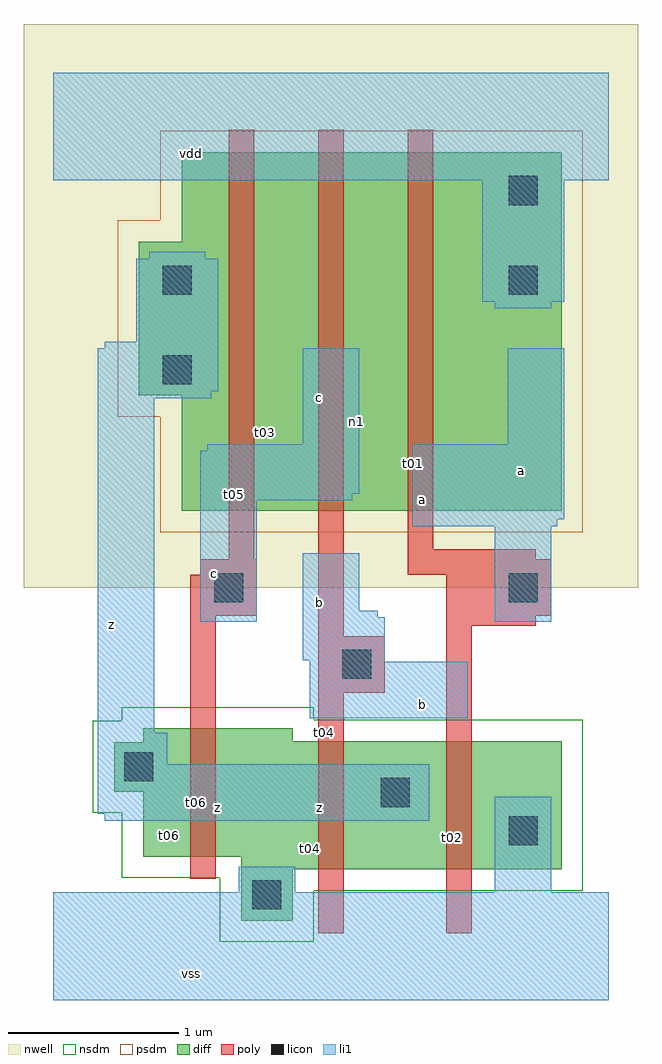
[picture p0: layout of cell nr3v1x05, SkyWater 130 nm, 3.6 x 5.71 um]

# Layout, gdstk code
import gdstk
lib = gdstk.Library(unit=1e-6, precision=5e-09)
def R(c, l, rs):  # rectangles x0, y0, x1, y1
    for r in rs: c.add(gdstk.rectangle(r[:2], r[2:], *l))
def A(c, l, x, y, w, h, nx, ny, dx, dy):  # array of equal rectangles
    R(c, l, [(x+i*dx, y+j*dy, x+i*dx+w, y+j*dy+h) for i in range(nx) for j in range(ny)])
nwell = (64, 20)
diff = (65, 20)
poly = (66, 20)
licon = (66, 44)
li1 = (67, 20)
nsdm = (93, 44)
psdm = (94, 20)

nr3v1x05 = lib.new_cell('nr3v1x05')
R(nr3v1x05, nwell, [(-0.3,2.4,3.3,5.7)])
R(nr3v1x05, diff, [(0.975,0.45,1.275,1.575), (0.975,0.75,2.85,1.5), (0.4,0.825,1.275,1.575), (0.4,0.825,2.85,1.5), (0.23,1.205,2.85,1.495), (0.625,2.85,2.85,4.95), (0.375,3.525,2.85,4.425)])
R(nr3v1x05, poly, [(1.425,0.375,1.575,5.08), (2.175,0.375,2.325,2.625), (0.675,0.695,0.825,2.475), (1.425,1.785,1.815,2.115), (2.175,2.175,2.7,2.625), (0.675,2.235,1.065,2.475), (0.735,2.235,1.065,2.565), (0.9,2.235,1.05,5.08), (2.175,2.235,2.7,2.625), (2.175,2.235,2.79,2.565), (1.95,2.475,2.1,5.08), (1.95,2.475,2.7,2.625)])
R(nr3v1x05, licon, [(1.04,0.515,1.21,0.685), (2.54,0.89,2.71,1.06), (1.79,1.115,1.96,1.285), (0.29,1.265,0.46,1.435), (1.565,1.865,1.735,2.035), (0.815,2.315,0.985,2.485), (2.54,2.315,2.71,2.485), (0.515,3.59,0.685,3.76), (0.515,4.115,0.685,4.285), (2.54,4.115,2.71,4.285), (2.54,4.64,2.71,4.81)])
A(nr3v1x05, li1, 1.375, 1.035, 0.25, 0.33, 1, 3, 0, 1.2)
R(nr3v1x05, li1, [(-0.125,-0.015,3.125,0.615), (-0.125,-0.015,3.125,0.615), (-0.125,-0.015,3.125,0.615), (0.96,-0.015,1.29,0.765), (2.46,-0.015,2.79,1.175), (0.175,1.035,0.54,1.55), (0.175,1.035,0.465,3.84), (0.175,1.035,2.075,1.365), (0.775,1.035,1.025,1.365), (0.135,1.075,0.54,1.55), (0.135,1.075,0.465,3.8), (0.135,1.075,2.075,1.365), (0.175,1.075,0.465,3.84), (0.175,1.075,0.465,3.84), (1.375,1.635,1.665,2.6), (1.375,1.635,2.3,1.965), (1.375,1.635,1.775,2.265), (1.375,1.635,1.815,2.225), (1.975,1.635,2.225,1.965), (0.135,1.675,0.465,3.725), (1.335,1.975,1.665,2.6), (1.335,1.975,1.815,2.225), (1.335,1.975,1.775,2.265), (0.735,2.2,1.065,3.2), (0.775,2.2,1.065,3.24), (0.775,2.2,1.065,3.24), (2.46,2.2,2.79,3.24), (2.535,2.2,2.79,3.8), (0.735,2.275,1.065,3.125), (1.975,2.76,2.825,3.24), (2.535,2.76,2.825,3.8), (1.975,2.8,2.865,3.24), (2.535,2.8,2.865,3.8), (1.975,2.835,2.225,3.165), (2.535,2.875,2.865,3.725), (0.735,2.91,1.625,3.2), (0.775,2.91,1.625,3.24), (1.335,2.91,1.625,3.8), (0.735,2.95,1.665,3.2), (0.775,2.95,1.665,3.24), (1.335,2.95,1.665,3.8), (0.135,3.51,0.8,3.8), (0.135,3.51,0.8,3.8), (0.135,3.51,0.8,3.8), (0.135,3.51,0.765,3.8), (0.175,3.51,0.8,3.84), (0.175,3.51,0.8,3.84), (0.175,3.51,0.8,3.84), (0.175,3.51,0.765,3.84), (0.36,3.51,0.8,4.325), (0.435,3.51,0.765,4.365), (0.135,3.55,0.84,3.8), (0.135,3.55,0.84,3.8), (0.135,3.55,0.84,3.8), (0.135,3.55,0.84,3.8), (0.135,3.55,0.84,3.8), (0.175,3.55,0.84,3.84), (0.175,3.55,0.84,3.84), (0.175,3.55,0.84,3.84), (0.36,3.55,0.84,4.325), (2.46,4.035,2.79,5.415), (2.385,4.075,2.865,5.415), (-0.125,4.785,3.125,5.415), (-0.125,4.785,3.125,5.415), (-0.125,4.785,3.125,5.415)])
R(nr3v1x05, nsdm, [(0.85,0.325,1.4,1.7), (0.975,0.45,1.275,1.575), (0.975,0.45,1.275,1.575), (0.98,0.455,1.27,0.745), (0.85,0.625,2.975,1.625), (0.275,0.7,1.4,1.7), (0.275,0.7,2.975,1.625), (1.725,0.75,2.025,1.5), (1.725,0.75,2.025,1.5), (2.4,0.75,2.85,1.5), (2.4,0.75,2.85,1.5), (2.48,0.83,2.77,1.12), (1.73,1.055,2.02,1.345), (0.105,1.08,2.975,1.62), (0.23,1.205,0.52,1.495)])
R(nr3v1x05, psdm, [(0.5,2.725,2.975,5.075), (1.125,2.85,1.425,4.95), (1.125,2.85,1.425,4.95), (1.575,2.85,1.875,4.95), (1.575,2.85,1.875,4.95), (2.25,2.85,2.55,4.95), (2.25,2.85,2.55,4.95), (2.4,2.85,2.85,4.95), (2.4,2.85,2.85,4.95), (0.25,3.4,2.975,4.55), (0.375,3.525,0.825,4.425), (0.375,3.525,0.825,4.425), (0.455,3.53,0.745,3.82), (0.455,4.055,0.745,4.345), (2.48,4.055,2.77,4.345), (2.48,4.58,2.77,4.87)])
nr3v1x05.add(gdstk.Label('t06', (0.555,0.95), layer=93, texttype=44))
nr3v1x05.add(gdstk.Label('t04', (1.38,0.875), layer=93, texttype=44))
nr3v1x05.add(gdstk.Label('t03', (1.115,3.31), layer=94, texttype=20))
nr3v1x05.add(gdstk.Label('t06', (0.615,1.01), layer=65, texttype=20))
nr3v1x05.add(gdstk.Label('t02', (1.44,0.935), layer=65, texttype=20))
nr3v1x05.add(gdstk.Label('t01', (1.18,3.375), layer=65, texttype=20))
nr3v1x05.add(gdstk.Label('n2', (1.2,3.375), layer=94, texttype=20))
nr3v1x05.add(gdstk.Label('n1', (1.65,3.375), layer=94, texttype=20))
nr3v1x05.add(gdstk.Label('t06', (0.71,1.14), layer=66, texttype=20))
nr3v1x05.add(gdstk.Label('t05', (0.935,2.945), layer=66, texttype=20))
nr3v1x05.add(gdstk.Label('t04', (1.46,1.55), layer=66, texttype=20))
nr3v1x05.add(gdstk.Label('t01', (1.985,3.125), layer=66, texttype=20))
nr3v1x05.add(gdstk.Label('t02', (2.21,0.935), layer=66, texttype=20))
nr3v1x05.add(gdstk.Label('z', (0.835,1.115), layer=67, texttype=20))
nr3v1x05.add(gdstk.Label('c', (0.815,2.485), layer=67, texttype=20))
nr3v1x05.add(gdstk.Label('z', (0.215,2.185), layer=67, texttype=20))
nr3v1x05.add(gdstk.Label('z', (1.435,1.115), layer=67, texttype=20))
nr3v1x05.add(gdstk.Label('b', (1.435,2.315), layer=67, texttype=20))
nr3v1x05.add(gdstk.Label('c', (1.435,3.515), layer=67, texttype=20))
nr3v1x05.add(gdstk.Label('b', (2.035,1.715), layer=67, texttype=20))
nr3v1x05.add(gdstk.Label('a', (2.035,2.915), layer=67, texttype=20))
nr3v1x05.add(gdstk.Label('vss', (0.685,0.14), layer=67, texttype=20))
nr3v1x05.add(gdstk.Label('vss', (0.685,0.14), layer=67, texttype=20))
nr3v1x05.add(gdstk.Label('a', (2.615,3.085), layer=67, texttype=20))
nr3v1x05.add(gdstk.Label('vdd', (0.685,4.94), layer=67, texttype=20))
nr3v1x05.add(gdstk.Label('vdd', (0.685,4.94), layer=67, texttype=20))

lib.write_gds('nr3v1x05.gds')
